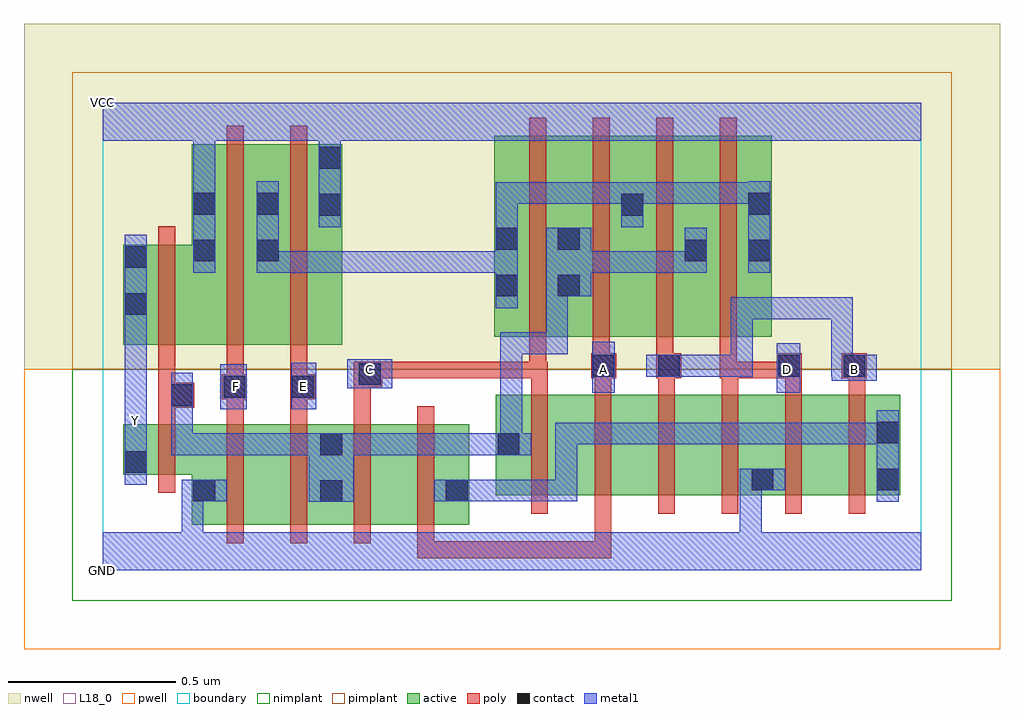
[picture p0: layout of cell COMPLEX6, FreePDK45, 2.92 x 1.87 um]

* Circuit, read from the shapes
.subckt COMPLEX6 A B C D E F GND VCC Y
M1 GND n1 Y VSUBS nfet w=0.15u l=0.05u
M2 n2 F GND VSUBS nfet w=0.3u l=0.05u
M3 n1 E n2 VSUBS nfet w=0.3u l=0.05u
M4 n3 C n1 VSUBS nfet w=0.3u l=0.05u
M5 n4 A n3 VSUBS nfet w=0.3u l=0.05u
M6 n5 C n1 VSUBS nfet w=0.3u l=0.05u
M7 n6 A n5 VSUBS nfet w=0.3u l=0.05u
M8 n7 B n6 VSUBS nfet w=0.3u l=0.05u
M9 GND D n7 VSUBS nfet w=0.3u l=0.05u
M10 n8 D GND VSUBS nfet w=0.3u l=0.05u
M11 n4 B n8 VSUBS nfet w=0.3u l=0.05u
M12 VCC n1 Y n9 pfet w=0.3u l=0.05u
M13 n10 F VCC n9 pfet w=0.6u l=0.05u
M14 VCC E n10 n9 pfet w=0.6u l=0.05u
M15 n1 C n10 n9 pfet w=0.6u l=0.05u
M16 n10 A n1 n9 pfet w=0.6u l=0.05u
M17 n1 B n10 n9 pfet w=0.6u l=0.05u
M18 n10 D n1 n9 pfet w=0.6u l=0.05u
.ends

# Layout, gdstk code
import gdstk
lib = gdstk.Library(unit=1e-6, precision=1e-09)
def R(c, l, rs):  # rectangles x0, y0, x1, y1
    for r in rs: c.add(gdstk.rectangle(r[:2], r[2:], *l))
def A(c, l, x, y, w, h, nx, ny, dx, dy):  # array of equal rectangles
    R(c, l, [(x+i*dx, y+j*dy, x+i*dx+w, y+j*dy+h) for i in range(nx) for j in range(ny)])
active = (1, 0)
pwell = (2, 0)
nwell = (3, 0)
nimplant = (4, 0)
pimplant = (5, 0)
poly = (9, 0)
contact = (10, 0)
metal1 = (11, 0)
L18_0 = (18, 0)
boundary = (235, 0)

complex6 = lib.new_cell('COMPLEX6')
A(complex6, active, 1.357, 0.7, 0.265, 0.6, 3, 1, 0.19, 0)
R(complex6, active, [(0.267,0.137,0.492,0.437), (0.492,0.137,0.722,0.437), (0.647,0.137,0.872,0.437), (0.872,0.137,1.097,0.437), (0.647,0.2,0.722,0.437), (1.022,0.2,1.097,0.437), (0.267,0.202,0.342,0.397), (1.177,0.225,1.402,0.525), (1.402,0.225,1.592,0.525), (1.592,0.225,1.782,0.525), (1.782,0.225,2.012,0.525), (1.937,0.225,2.162,0.525), (2.162,0.225,2.387,0.525), (2.312,0.225,2.387,0.525), (1.937,0.235,2.012,0.392), (1.177,0.247,1.282,0.525), (0.062,0.287,0.342,0.437), (0.062,0.287,0.137,0.437), (0.062,0.675,0.137,0.975), (0.062,0.675,0.342,0.975), (0.267,0.675,0.532,1.275), (0.267,0.675,0.342,1.275), (0.457,0.675,0.717,1.275), (0.457,0.675,0.532,1.2), (0.642,0.675,0.717,1.272), (1.172,0.7,1.247,1.2), (1.172,0.7,1.432,1.3), (1.927,0.7,2.002,1.2), (1.357,0.707,1.432,1.07), (1.547,0.707,1.622,1.2), (1.737,0.707,1.812,1.07)])
R(complex6, pwell, [(-0.235,-0.235,2.685,0.602)])
R(complex6, nwell, [(-0.235,0.602,2.685,1.635)])
R(complex6, nimplant, [(-0.09,-0.09,2.54,0.602)])
R(complex6, pimplant, [(-0.09,0.602,2.54,1.49)])
A(complex6, poly, 0.372, 0.082, 0.05, 0.41, 4, 1, 0.19, 0)
A(complex6, poly, 1.282, 0.17, 0.05, 0.41, 6, 1, 0.19, 0)
A(complex6, poly, 1.282, 0.53, 0.05, 0.095, 6, 1, 0.19, 0)
A(complex6, poly, 1.277, 0.645, 0.05, 0.71, 4, 1, 0.19, 0)
R(complex6, poly, [(0.942,0.037,0.992,0.132), (0.942,0.037,0.992,0.087), (0.942,0.037,1.195,0.087), (1.145,0.037,1.195,0.087), (1.145,0.037,1.195,0.087), (1.145,0.037,1.195,0.087), (1.145,0.037,1.38,0.087), (1.33,0.037,1.38,0.087), (1.33,0.037,1.522,0.087), (1.472,0.037,1.522,0.087), (1.472,0.037,1.522,0.087), (1.472,0.037,1.522,0.087), (1.472,0.037,1.522,0.22), (0.167,0.232,0.217,0.492), (0.167,0.442,0.217,0.537), (0.372,0.442,0.422,0.562), (0.562,0.442,0.612,0.562), (0.752,0.442,0.802,0.6), (0.167,0.487,0.275,0.562), (0.167,0.512,0.217,0.67), (0.357,0.512,0.432,0.587), (0.562,0.512,0.637,0.587), (0.372,0.537,0.422,0.67), (0.562,0.537,0.612,0.67), (0.752,0.55,0.837,0.625), (0.787,0.575,1.062,0.625), (1.012,0.575,1.062,0.625), (1.012,0.575,1.062,0.625), (1.012,0.575,1.062,0.625), (1.012,0.575,1.195,0.625), (1.145,0.575,1.195,0.625), (1.145,0.575,1.195,0.625), (1.145,0.575,1.195,0.625), (1.145,0.575,1.327,0.625), (1.277,0.575,1.327,0.695), (1.277,0.575,1.332,0.625), (1.462,0.575,1.537,0.65), (1.657,0.575,1.732,0.65), (1.847,0.575,1.897,0.695), (1.847,0.575,1.902,0.625), (1.852,0.575,2.067,0.625), (2.017,0.575,2.092,0.65), (2.017,0.575,2.067,0.625), (2.017,0.575,2.067,0.625), (2.212,0.575,2.287,0.65), (1.467,0.6,1.517,0.695), (1.657,0.6,1.707,0.695), (0.167,0.62,0.217,1.03), (0.372,0.62,0.422,1.33), (0.562,0.62,0.612,1.33)])
R(complex6, contact, [(0.652,0.205,0.717,0.27), (0.272,0.207,0.337,0.272), (1.027,0.207,1.092,0.272), (1.942,0.24,2.007,0.305), (2.317,0.24,2.382,0.305), (0.067,0.292,0.132,0.357), (0.652,0.345,0.717,0.41), (1.182,0.345,1.247,0.41), (2.317,0.38,2.382,0.445), (0.205,0.492,0.27,0.557), (0.362,0.517,0.427,0.582), (0.567,0.517,0.632,0.582), (0.767,0.555,0.832,0.62), (1.467,0.58,1.532,0.645), (1.662,0.58,1.727,0.645), (2.022,0.58,2.087,0.645), (2.217,0.58,2.282,0.645), (0.067,0.765,0.132,0.83), (1.177,0.82,1.242,0.885), (1.362,0.82,1.427,0.885), (0.067,0.905,0.132,0.97), (0.272,0.925,0.337,0.99), (0.462,0.925,0.527,0.99), (1.742,0.925,1.807,0.99), (1.932,0.925,1.997,0.99), (1.177,0.96,1.242,1.025), (1.362,0.96,1.427,1.025), (0.647,1.062,0.712,1.127), (1.552,1.062,1.617,1.127), (0.272,1.065,0.337,1.13), (0.462,1.065,0.527,1.13), (1.932,1.065,1.997,1.13), (0.647,1.202,0.712,1.267)])
R(complex6, metal1, [(0,0,2.45,0.115), (0.237,0.05,0.302,0.272), (1.907,0.05,1.972,0.115), (1.907,0.05,1.972,0.115), (1.907,0.05,1.972,0.305), (0.617,0.205,0.752,0.41), (2.317,0.205,2.382,0.48), (0.237,0.207,0.302,0.272), (0.237,0.207,0.302,0.272), (0.237,0.207,0.372,0.272), (0.992,0.207,1.127,0.272), (1.062,0.207,1.212,0.272), (1.147,0.207,1.212,0.272), (1.147,0.207,1.282,0.272), (1.217,0.207,1.282,0.272), (1.217,0.207,1.42,0.272), (1.355,0.207,1.42,0.272), (1.355,0.207,1.42,0.442), (1.907,0.24,2.042,0.305), (0.067,0.257,0.132,0.392), (0.067,0.327,0.132,0.447), (0.205,0.345,0.27,0.41), (0.205,0.345,0.407,0.41), (0.205,0.345,0.27,0.522), (0.342,0.345,0.407,0.41), (0.342,0.345,0.545,0.41), (0.48,0.345,0.545,0.41), (0.48,0.345,0.545,0.41), (0.48,0.345,0.545,0.41), (0.48,0.345,0.682,0.41), (0.687,0.345,0.752,0.41), (0.687,0.345,0.752,0.41), (0.687,0.345,0.92,0.41), (0.855,0.345,0.92,0.41), (0.855,0.345,1.075,0.41), (1.01,0.345,1.075,0.41), (1.01,0.345,1.075,0.41), (1.01,0.345,1.075,0.41), (1.01,0.345,1.212,0.41), (1.147,0.345,1.282,0.41), (1.19,0.345,1.255,0.712), (1.355,0.377,1.42,0.442), (1.355,0.377,1.42,0.442), (1.355,0.377,1.42,0.442), (1.355,0.377,1.617,0.442), (1.552,0.377,1.617,0.442), (1.552,0.377,1.617,0.442), (1.552,0.377,1.617,0.442), (1.552,0.377,1.755,0.442), (1.69,0.377,1.755,0.442), (1.69,0.377,1.945,0.442), (1.88,0.377,1.945,0.442), (1.88,0.377,1.945,0.442), (1.88,0.377,1.945,0.442), (1.88,0.377,2.082,0.442), (2.017,0.377,2.082,0.442), (2.017,0.377,2.082,0.442), (2.017,0.377,2.082,0.442), (2.017,0.377,2.382,0.442), (2.317,0.377,2.382,0.442), (2.317,0.377,2.382,0.442), (0.067,0.382,0.132,0.517), (0.067,0.452,0.132,0.795), (0.205,0.457,0.27,0.522), (0.205,0.457,0.27,0.522), (0.205,0.457,0.27,0.592), (0.352,0.482,0.432,0.617), (0.565,0.482,0.64,0.622), (1.465,0.532,1.532,0.685), (2.017,0.532,2.087,0.68), (0.732,0.545,0.867,0.632), (2.182,0.567,2.317,0.645), (1.627,0.58,1.762,0.645), (1.697,0.58,1.762,0.645), (1.697,0.58,1.762,0.645), (1.697,0.58,1.945,0.645), (1.88,0.58,1.945,0.645), (1.88,0.58,1.945,0.645), (1.88,0.58,1.945,0.645), (1.88,0.58,1.945,0.817), (2.18,0.58,2.245,0.645), (2.18,0.58,2.247,0.645), (2.18,0.58,2.245,0.817), (1.19,0.647,1.255,0.712), (1.19,0.647,1.265,0.712), (1.2,0.647,1.265,0.712), (1.2,0.647,1.392,0.712), (1.327,0.647,1.392,0.712), (1.327,0.647,1.392,0.885), (0.067,0.73,0.132,1.005), (1.88,0.752,1.945,0.817), (1.88,0.752,2.11,0.817), (2.045,0.752,2.11,0.817), (2.045,0.752,2.245,0.817), (2.18,0.752,2.245,0.817), (1.177,0.785,1.242,1.06), (1.327,0.82,1.462,1.025), (0.272,0.89,0.337,1.165), (0.462,0.89,0.527,1.165), (0.462,0.89,0.545,0.955), (0.48,0.89,0.545,0.955), (0.48,0.89,0.752,0.955), (0.687,0.89,0.752,0.955), (0.687,0.89,0.89,0.955), (0.825,0.89,0.89,0.955), (0.825,0.89,0.89,0.955), (0.825,0.89,0.89,0.955), (0.825,0.89,1.057,0.955), (0.992,0.89,1.057,0.955), (0.992,0.89,1.057,0.955), (0.992,0.89,1.057,0.955), (0.992,0.89,1.242,0.955), (1.397,0.89,1.462,0.955), (1.397,0.89,1.462,0.955), (1.397,0.89,1.6,0.955), (1.535,0.89,1.6,0.955), (1.535,0.89,1.6,0.955), (1.535,0.89,1.6,0.955), (1.535,0.89,1.807,0.955), (1.742,0.89,1.807,1.025), (1.932,0.89,1.997,1.165), (1.177,0.995,1.242,1.162), (0.647,1.027,0.712,1.302), (1.552,1.027,1.617,1.162), (1.177,1.097,1.242,1.162), (1.177,1.097,1.282,1.162), (1.217,1.097,1.282,1.162), (1.217,1.097,1.42,1.162), (1.355,1.097,1.42,1.162), (1.355,1.097,1.42,1.162), (1.355,1.097,1.42,1.162), (1.355,1.097,1.617,1.162), (1.552,1.097,1.617,1.162), (1.552,1.097,1.617,1.162), (1.552,1.097,1.755,1.162), (1.69,1.097,1.755,1.162), (1.69,1.097,1.945,1.162), (1.88,1.097,1.945,1.162), (1.88,1.097,1.997,1.162), (0.272,1.1,0.337,1.35), (0.647,1.237,0.712,1.35), (0,1.285,2.45,1.4)])
R(complex6, L18_0, [(0,0,2.45,0.115), (0.237,0.05,0.302,0.272), (1.907,0.05,1.972,0.115), (1.907,0.05,1.972,0.115), (1.907,0.05,1.972,0.305), (0.237,0.207,0.302,0.272), (0.237,0.207,0.302,0.272), (0.237,0.207,0.372,0.272), (1.907,0.24,2.042,0.305), (0.067,0.257,0.132,0.392), (0.067,0.327,0.132,0.447), (0.067,0.382,0.132,0.517), (0.067,0.417,0.132,0.482), (0.067,0.452,0.132,0.795), (0.352,0.482,0.432,0.617), (0.565,0.482,0.64,0.622), (0.367,0.517,0.432,0.582), (0.567,0.517,0.632,0.582), (1.465,0.532,1.532,0.685), (2.017,0.532,2.087,0.68), (0.732,0.545,0.867,0.632), (0.767,0.567,0.832,0.632), (1.467,0.567,1.532,0.632), (2.017,0.567,2.082,0.632), (2.182,0.567,2.317,0.645), (2.217,0.567,2.282,0.632), (1.627,0.58,1.762,0.645), (1.697,0.58,1.762,0.645), (1.697,0.58,1.762,0.645), (1.697,0.58,1.945,0.645), (1.88,0.58,1.945,0.645), (1.88,0.58,1.945,0.645), (1.88,0.58,1.945,0.645), (1.88,0.58,1.945,0.817), (2.18,0.58,2.245,0.645), (2.18,0.58,2.245,0.817), (2.18,0.58,2.247,0.645), (0.067,0.73,0.132,1.005), (1.88,0.752,1.945,0.817), (1.88,0.752,2.11,0.817), (2.045,0.752,2.11,0.817), (2.045,0.752,2.245,0.817), (2.18,0.752,2.245,0.817), (0.272,0.89,0.337,1.165), (0.647,1.027,0.712,1.302), (0.272,1.1,0.337,1.35), (0.647,1.237,0.712,1.35), (0,1.285,2.45,1.4)])
R(complex6, boundary, [(0,0,2.45,1.4)])
complex6.add(gdstk.Label('A', (1.5,0.6), layer=11, texttype=0))
complex6.add(gdstk.Label('B', (2.25,0.6), layer=11, texttype=0))
complex6.add(gdstk.Label('C', (0.8,0.6), layer=11, texttype=0))
complex6.add(gdstk.Label('D', (2.05,0.6), layer=11, texttype=0))
complex6.add(gdstk.Label('E', (0.6,0.55), layer=11, texttype=0))
complex6.add(gdstk.Label('F', (0.4,0.55), layer=11, texttype=0))
complex6.add(gdstk.Label('Y', (0.1,0.45), layer=11, texttype=0))
complex6.add(gdstk.Label('VCC', (0,1.4), layer=11, texttype=0))
complex6.add(gdstk.Label('GND', (0,0), layer=11, texttype=0))

lib.write_gds('COMPLEX6.gds')
